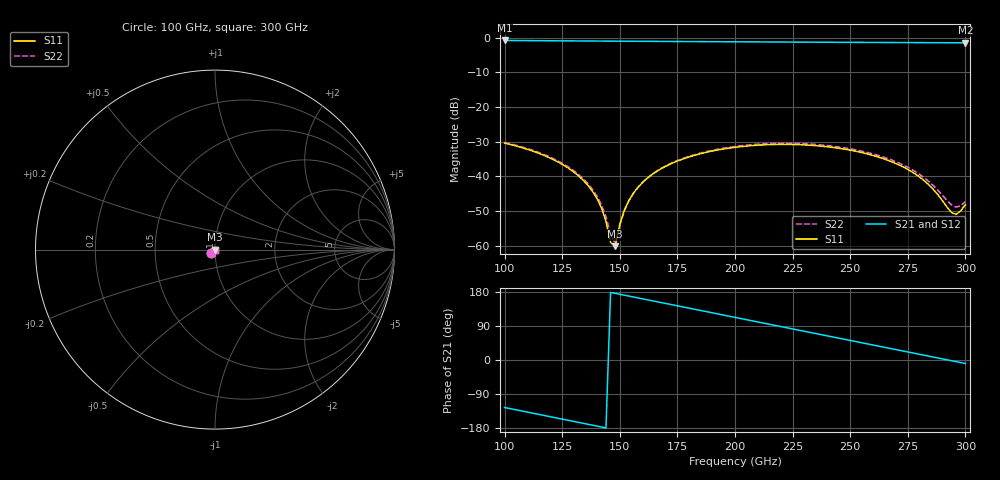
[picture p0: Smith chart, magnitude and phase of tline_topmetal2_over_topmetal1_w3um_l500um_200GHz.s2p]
#  GHZ S DB R 50
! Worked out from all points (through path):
!   101 points, 100 GHz to 300 GHz, reference 50 ohm
!   highest |S21| = -0.76 dB at 100 GHz (marker M1); lowest = -1.4 dB at 300 GHz (marker M2)
!   group delay of S21, straight-line fit = 3.39 ps
!   lowest |S11| = -60.1 dB at 148 GHz (marker M3), VSWR 1.00, Z = 50 - j0.0984 ohm
!   |S11| at or under -10 dB: start of sweep to end of sweep
!   |S22| runs from -59.3 to -30.2 dB; largest |S21 - S12| = 1e-13
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100  -30.37 -136.1  -0.76 -125.3  -0.76 -125.3  -30.18 -135.9
120  -34.77 -165.9  -0.85 -149.8  -0.85 -149.8  -34.49 -165.2
134  -41.00 175.9  -0.91 -167.0  -0.91 -167.0  -40.57 177.2
138  -44.13 172.3  -0.92 -171.9  -0.92 -171.9  -43.58 174.0
142  -49.01 172.1  -0.94 -176.7  -0.94 -176.7  -48.15 174.5
144  -52.94 177.1  -0.94 -179.2  -0.94 -179.2  -51.67 179.7
146  -59.08 -160.2  -0.95 178.4  -0.95 178.4  -56.73 -161.3
148  -60.11 -84.8  -0.96 175.9  -0.96 175.9  -59.27 -101.4
150  -53.76 -55.9  -0.97 173.5  -0.97 173.5  -54.07 -63.8
154  -46.83 -48.7  -0.98 168.6  -0.98 168.6  -46.99 -51.4
160  -41.64 -52.6  -1.01 161.3  -1.01 161.3  -41.63 -53.6
168  -37.74 -61.8  -1.03 151.5  -1.03 151.5  -37.65 -62.1
182  -33.97 -79.9  -1.08 134.4  -1.08 134.4  -33.80 -79.7
200  -31.59 -103.6  -1.15 112.5  -1.15 112.5  -31.36 -102.9
216  -30.79 -124.4  -1.20 93.0  -1.20 93.0  -30.51 -123.4
234  -31.05 -147.5  -1.25 71.1  -1.25 71.1  -30.73 -146.0
252  -32.67 -169.7  -1.31 49.2  -1.31 49.2  -32.28 -167.6
268  -35.76 172.5  -1.35 29.7  -1.35 29.7  -35.26 175.4
282  -41.14 163.2  -1.39 12.7  -1.39 12.7  -40.31 167.4
294  -50.42 -160.9  -1.42 -1.9  -1.42 -1.9  -48.21 -161.6
296  -50.91 -139.2  -1.43 -4.4  -1.43 -4.4  -48.83 -145.0
300  -48.12 -105.3  -1.44 -9.2  -1.44 -9.2  -47.24 -113.9
